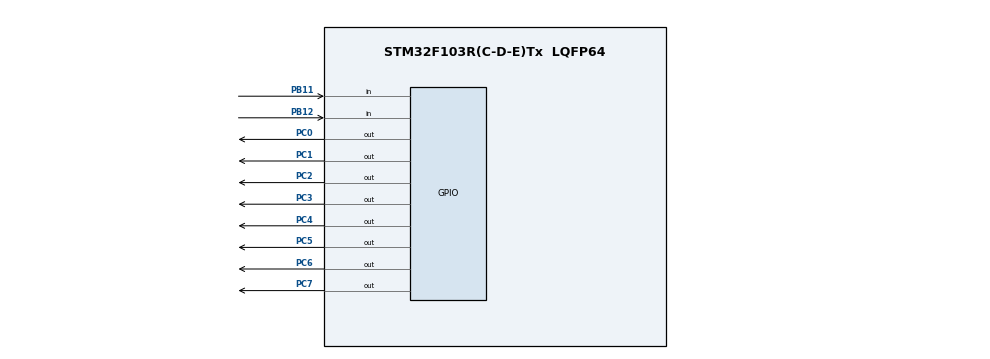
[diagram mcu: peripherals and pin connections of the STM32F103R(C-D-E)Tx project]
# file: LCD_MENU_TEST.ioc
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Mcu.Family=STM32F1
Mcu.Name=STM32F103R(C-D-E)Tx
Mcu.Package=LQFP64
NVIC.PriorityGroup=NVIC_PRIORITYGROUP_4
PA13.Mode=Serial_Wire
PA13.Signal=SYS_JTMS-SWDIO
PA14.Mode=Serial_Wire
PA14.Signal=SYS_JTCK-SWCLK
PB11.Signal=GPIO_Input
PB12.Signal=GPIO_Input
PC0.Signal=GPIO_Output
PC1.Signal=GPIO_Output
PC2.Signal=GPIO_Output
PC3.Signal=GPIO_Output
PC4.Signal=GPIO_Output
PC5.Signal=GPIO_Output
PC6.Signal=GPIO_Output
PC7.Signal=GPIO_Output
ProjectManager.HeapSize=0x200
ProjectManager.StackSize=0x400
ProjectManager.TargetToolchain=EWARM V8.32
RCC.APB1Freq_Value=8000000
RCC.APB2Freq_Value=8000000
board=custom

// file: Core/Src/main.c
/* USER CODE BEGIN Header */
/**
  ******************************************************************************
  * @file           : main.c
  * @brief          : Main program body
  ******************************************************************************
  * @attention
  *
  * <h2><center>&copy; Copyright (c) 2021 STMicroelectronics.
  * All rights reserved.</center></h2>
  *
  * This software component is licensed by ST under BSD 3-Clause license,
  * the "License"; You may not use this file except in compliance with the
  * License. You may obtain a copy of the License at:
  *                        opensource.org/licenses/BSD-3-Clause
  *
  ******************************************************************************
  */
/* USER CODE END Header */
#include "main.h"

/* USER CODE BEGIN Includes */
#include "LCD/lcd.h"
/* USER CODE END Includes */

/* USER CODE BEGIN PM */
#define MENU_CHANGE_BTN         GPIO_PIN_11
#define MENU_SELECT_BTN         GPIO_PIN_12
/* USER CODE END PM */

/* USER CODE BEGIN PV */
int menu = 1;
/* USER CODE END PV */

void SystemClock_Config(void);
static void MX_GPIO_Init(void);
/* USER CODE BEGIN PFP */
void action1(void);
void action2(void);
void action3(void);
void action4(void);
/* USER CODE END PFP */

/* USER CODE BEGIN 0 */
void update_menu(void){
   switch (menu) {

    case 1:
      lcd_clear();
      lcd_puts(">MenuItem1");
      lcd_gotoxy(0, 1);
      lcd_puts(" MenuItem2");
      break;
    case 2:
      lcd_clear();
      lcd_puts(" MenuItem1");
      lcd_gotoxy(0, 1);
      lcd_puts(">MenuItem2");
      break;
    case 3:
      lcd_clear();
      lcd_puts(">MenuItem3");
      lcd_gotoxy(0, 1);
      lcd_puts(" MenuItem4");
      break;
    case 4:
      lcd_clear();
      lcd_puts(" MenuItem3");
      lcd_gotoxy(0, 1);
      lcd_puts(">MenuItem4");
      break;
    case 5:
      menu = 1;
      break;
  }
}

void executeAction(void) {
  switch (menu) {
    case 1:
      action1();
      break;
    case 2:
      action2();
      break;
    case 3:
      action3();
      break;
    case 4:
      action4();
      break;
  }
}

/* USER CODE END 0 */

int main(void)
{

  /* MCU Configuration--------------------------------------------------------*/

  /* Reset of all peripherals, Initializes the Flash interface and the Systick. */
  HAL_Init();

  /* Configure the system clock */
  SystemClock_Config();

  /* Initialize all configured peripherals */
  MX_GPIO_Init();
  /* USER CODE BEGIN 2 */

  lcd_init();

  lcd_clear();

  lcd_puts("  menu test");
  HAL_Delay(3000);
  lcd_clear();

  update_menu();
  /* USER CODE END 2 */

  /* Infinite loop */
  /* USER CODE BEGIN WHILE */
  while (1)
  {
    if(HAL_GPIO_ReadPin(GPIOB,MENU_CHANGE_BTN)==GPIO_PIN_SET){

      menu++;
      if(menu==5)
        menu=1;
      update_menu();
      HAL_Delay(100);
      while(HAL_GPIO_ReadPin(GPIOB,MENU_CHANGE_BTN));
    }

    if(HAL_GPIO_ReadPin(GPIOB,MENU_SELECT_BTN)==GPIO_PIN_SET){

      executeAction();
      update_menu();
      HAL_Delay(100);
      while(HAL_GPIO_ReadPin(GPIOB,MENU_SELECT_BTN));
    }

    /* USER CODE END WHILE */

  }
}

void SystemClock_Config(void)
{
  RCC_OscInitTypeDef RCC_OscInitStruct = {0};
  RCC_ClkInitTypeDef RCC_ClkInitStruct = {0};

  /** Initializes the RCC Oscillators according to the specified parameters
  * in the RCC_OscInitTypeDef structure.
  */
  RCC_OscInitStruct.OscillatorType = RCC_OSCILLATORTYPE_HSI;
  RCC_OscInitStruct.HSIState = RCC_HSI_ON;
  RCC_OscInitStruct.HSICalibrationValue = RCC_HSICALIBRATION_DEFAULT;
  RCC_OscInitStruct.PLL.PLLState = RCC_PLL_NONE;
  if (HAL_RCC_OscConfig(&RCC_OscInitStruct) != HAL_OK)
  {
    Error_Handler();
  }
  /** Initializes the CPU, AHB and APB buses clocks
  */
  RCC_ClkInitStruct.ClockType = RCC_CLOCKTYPE_HCLK|RCC_CLOCKTYPE_SYSCLK
                              |RCC_CLOCKTYPE_PCLK1|RCC_CLOCKTYPE_PCLK2;
  RCC_ClkInitStruct.SYSCLKSource = RCC_SYSCLKSOURCE_HSI;
  RCC_ClkInitStruct.AHBCLKDivider = RCC_SYSCLK_DIV1;
  RCC_ClkInitStruct.APB1CLKDivider = RCC_HCLK_DIV1;
  RCC_ClkInitStruct.APB2CLKDivider = RCC_HCLK_DIV1;

  if (HAL_RCC_ClockConfig(&RCC_ClkInitStruct, FLASH_LATENCY_0) != HAL_OK)
  {
    Error_Handler();
  }
}

static void MX_GPIO_Init(void)
{
  GPIO_InitTypeDef GPIO_InitStruct = {0};

  /* GPIO Ports Clock Enable */
  __HAL_RCC_GPIOC_CLK_ENABLE();
  __HAL_RCC_GPIOB_CLK_ENABLE();
  __HAL_RCC_GPIOA_CLK_ENABLE();

  /*Configure GPIO pin Output Level */
  HAL_GPIO_WritePin(GPIOC, GPIO_PIN_0|GPIO_PIN_1|GPIO_PIN_2|GPIO_PIN_3
                          |GPIO_PIN_4|GPIO_PIN_5|GPIO_PIN_6|GPIO_PIN_7, GPIO_PIN_RESET);

  /*Configure GPIO pins : PC0 PC1 PC2 PC3
                           PC4 PC5 PC6 PC7 */
  GPIO_InitStruct.Pin = GPIO_PIN_0|GPIO_PIN_1|GPIO_PIN_2|GPIO_PIN_3
                          |GPIO_PIN_4|GPIO_PIN_5|GPIO_PIN_6|GPIO_PIN_7;
  GPIO_InitStruct.Mode = GPIO_MODE_OUTPUT_PP;
  GPIO_InitStruct.Pull = GPIO_NOPULL;
  GPIO_InitStruct.Speed = GPIO_SPEED_FREQ_LOW;
  HAL_GPIO_Init(GPIOC, &GPIO_InitStruct);

  /*Configure GPIO pins : PB11 PB12 */
  GPIO_InitStruct.Pin = GPIO_PIN_11|GPIO_PIN_12;
  GPIO_InitStruct.Mode = GPIO_MODE_INPUT;
  GPIO_InitStruct.Pull = GPIO_NOPULL;
  HAL_GPIO_Init(GPIOB, &GPIO_InitStruct);

}

/* USER CODE BEGIN 4 */
void action1(void) {
  lcd_clear();
  lcd_puts(">Executing #1");
  HAL_Delay(1500);
}

void action2(void) {
  lcd_clear();
  lcd_puts(">Executing #2");
  HAL_Delay(1500);
}

void action3(void) {
  lcd_clear();
  lcd_puts(">Executing #3");
  HAL_Delay(1500);
}

void action4(void) {
  lcd_clear();
  lcd_puts(">Executing #4");
  HAL_Delay(1500);
}
/* USER CODE END 4 */

void Error_Handler(void)
{
  __disable_irq();
  while (1)
  {
  }
}

/************************ (C) COPYRIGHT STMicroelectronics *****END OF FILE****/
